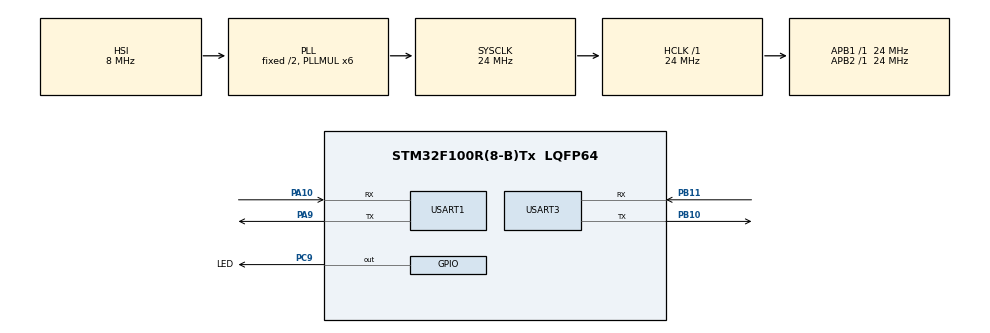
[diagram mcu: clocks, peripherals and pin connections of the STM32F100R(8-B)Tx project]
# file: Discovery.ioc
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Mcu.Family=STM32F1
PA10.Mode=Asynchronous
PB10.Mode=Asynchronous
PC9.GPIO_Label=LED
PB11.Signal=USART3_RX
RCC.SYSCLKSource=RCC_SYSCLKSOURCE_PLLCLK
ProjectManager.StackSize=0x400
PA13.Signal=SYS_JTMS-SWDIO
PA9.Mode=Asynchronous
PB11.Mode=Asynchronous
ProjectManager.TargetToolchain=STM32CubeIDE
RCC.HCLKFreq_Value=24000000
RCC.APB2TimFreq_Value=24000000
PA9.Signal=USART1_TX
RCC.AHBFreq_Value=24000000
PB10.Signal=USART3_TX
board=custom
RCC.PLLMUL=RCC_PLL_MUL6
RCC.APB2Freq_Value=24000000
VP_TIM2_VS_ClockSourceINT.Mode=Internal
PA14.Mode=Serial_Wire
NVIC.TIM2_IRQn=true\:0\:0\:false\:false\:true\:true\:true
TIM2.Period=4000
PA13.Mode=Serial_Wire
Mcu.Name=STM32F100R(8-B)Tx
RCC.SYSCLKFreq_VALUE=24000000
Mcu.Package=LQFP64
TIM2.Prescaler=35999
USART3.VirtualMode=VM_ASYNC
USART1.VirtualMode=VM_ASYNC
PA10.Signal=USART1_RX
PA14.Signal=SYS_JTCK-SWCLK
ProjectManager.HeapSize=0x200
NVIC.PriorityGroup=NVIC_PRIORITYGROUP_4
TIM2.TIM_MasterOutputTrigger=TIM_TRGO_UPDATE
RCC.APB1TimFreq_Value=24000000
PC9.Signal=GPIO_Output
NVIC.USART1_IRQn=true\:0\:0\:false\:false\:true\:true\:true
RCC.APB1Freq_Value=24000000

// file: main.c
/* USER CODE BEGIN Header */
/**
  ******************************************************************************
  * @file           : main.c
  * @brief          : Main program body
  ******************************************************************************
  * @attention
  *
  * <h2><center>&copy; Copyright (c) 2021 STMicroelectronics.
  * All rights reserved.</center></h2>
  *
  * This software component is licensed by ST under BSD 3-Clause license,
  * the "License"; You may not use this file except in compliance with the
  * License. You may obtain a copy of the License at:
  *                        opensource.org/licenses/BSD-3-Clause
  *
  ******************************************************************************
  */
/* USER CODE END Header */
#include "main.h"

/* USER CODE BEGIN Includes */
#include "string.h"
/* USER CODE END Includes */

/* USER CODE BEGIN PTD */
char str1[60]={0};
typedef struct USART_prop{
  uint8_t usart_buf[60];
  uint8_t usart_cnt;
  uint8_t is_tcp_connect;
  uint8_t is_text;
} USART_prop_ptr;
USART_prop_ptr usartprop;
/* USER CODE END PTD */

TIM_HandleTypeDef htim2;

UART_HandleTypeDef huart1;
UART_HandleTypeDef huart3;

void SystemClock_Config(void);
static void MX_GPIO_Init(void);
static void MX_USART1_UART_Init(void);
static void MX_USART3_UART_Init(void);
static void MX_TIM2_Init(void);

/* USER CODE BEGIN 0 */
void string_parse(char* buf_str)
{
  HAL_UART_Transmit(&huart1,(uint8_t*)buf_str,strlen(buf_str),0x1000);
  HAL_UART_Transmit(&huart3,(uint8_t*)buf_str,strlen(buf_str),0x1000);
}

void UART1_RxCpltCallback(void)
{
  uint8_t b;
  b = str1[0];
  if (usartprop.usart_cnt>59)
  {
    usartprop.usart_cnt=0;
    HAL_UART_Receive_IT(&huart1,(uint8_t*)str1,1);
    return;
  }
  usartprop.usart_buf[usartprop.usart_cnt] = b;
  if(b==0x0A)
  {
    usartprop.usart_buf[usartprop.usart_cnt+1]=0;
    string_parse((char*)usartprop.usart_buf);
    usartprop.usart_cnt=0;
    HAL_UART_Receive_IT(&huart1,(uint8_t*)str1,1);
    return;
  }
  usartprop.usart_cnt++;
  HAL_UART_Receive_IT(&huart1,(uint8_t*)str1,1);
}
/* USER CODE END 0 */

int main(void)
{

  /* MCU Configuration--------------------------------------------------------*/

  /* Reset of all peripherals, Initializes the Flash interface and the Systick. */
  HAL_Init();

  /* Configure the system clock */
  SystemClock_Config();

  /* Initialize all configured peripherals */
  MX_GPIO_Init();
  MX_USART1_UART_Init();
  MX_USART3_UART_Init();
  MX_TIM2_Init();
  /* USER CODE BEGIN 2 */
  HAL_UART_Receive_IT(&huart1,(uint8_t*)str1,1);
  HAL_TIM_Base_Start_IT(&htim2);
  /* USER CODE END 2 */

  /* Infinite loop */
  /* USER CODE BEGIN WHILE */
  while (1)
  {
	  HAL_GPIO_TogglePin(LED_GPIO_Port, LED_Pin);
    /* USER CODE END WHILE */

  }
}

void SystemClock_Config(void)
{
  RCC_OscInitTypeDef RCC_OscInitStruct = {0};
  RCC_ClkInitTypeDef RCC_ClkInitStruct = {0};

  /** Initializes the RCC Oscillators according to the specified parameters
  * in the RCC_OscInitTypeDef structure.
  */
  RCC_OscInitStruct.OscillatorType = RCC_OSCILLATORTYPE_HSI;
  RCC_OscInitStruct.HSIState = RCC_HSI_ON;
  RCC_OscInitStruct.HSICalibrationValue = RCC_HSICALIBRATION_DEFAULT;
  RCC_OscInitStruct.PLL.PLLState = RCC_PLL_ON;
  RCC_OscInitStruct.PLL.PLLSource = RCC_PLLSOURCE_HSI_DIV2;
  RCC_OscInitStruct.PLL.PLLMUL = RCC_PLL_MUL6;
  if (HAL_RCC_OscConfig(&RCC_OscInitStruct) != HAL_OK)
  {
    Error_Handler();
  }
  /** Initializes the CPU, AHB and APB buses clocks
  */
  RCC_ClkInitStruct.ClockType = RCC_CLOCKTYPE_HCLK|RCC_CLOCKTYPE_SYSCLK
                              |RCC_CLOCKTYPE_PCLK1|RCC_CLOCKTYPE_PCLK2;
  RCC_ClkInitStruct.SYSCLKSource = RCC_SYSCLKSOURCE_PLLCLK;
  RCC_ClkInitStruct.AHBCLKDivider = RCC_SYSCLK_DIV1;
  RCC_ClkInitStruct.APB1CLKDivider = RCC_HCLK_DIV1;
  RCC_ClkInitStruct.APB2CLKDivider = RCC_HCLK_DIV1;

  if (HAL_RCC_ClockConfig(&RCC_ClkInitStruct, FLASH_LATENCY_0) != HAL_OK)
  {
    Error_Handler();
  }
}

static void MX_TIM2_Init(void)
{

  TIM_ClockConfigTypeDef sClockSourceConfig = {0};
  TIM_MasterConfigTypeDef sMasterConfig = {0};

  htim2.Instance = TIM2;
  htim2.Init.Prescaler = 35999;
  htim2.Init.CounterMode = TIM_COUNTERMODE_UP;
  htim2.Init.Period = 4000;
  htim2.Init.ClockDivision = TIM_CLOCKDIVISION_DIV1;
  htim2.Init.AutoReloadPreload = TIM_AUTORELOAD_PRELOAD_DISABLE;
  if (HAL_TIM_Base_Init(&htim2) != HAL_OK)
  {
    Error_Handler();
  }
  sClockSourceConfig.ClockSource = TIM_CLOCKSOURCE_INTERNAL;
  if (HAL_TIM_ConfigClockSource(&htim2, &sClockSourceConfig) != HAL_OK)
  {
    Error_Handler();
  }
  sMasterConfig.MasterOutputTrigger = TIM_TRGO_UPDATE;
  sMasterConfig.MasterSlaveMode = TIM_MASTERSLAVEMODE_DISABLE;
  if (HAL_TIMEx_MasterConfigSynchronization(&htim2, &sMasterConfig) != HAL_OK)
  {
    Error_Handler();
  }

}

static void MX_USART1_UART_Init(void)
{

  huart1.Instance = USART1;
  huart1.Init.BaudRate = 115200;
  huart1.Init.WordLength = UART_WORDLENGTH_8B;
  huart1.Init.StopBits = UART_STOPBITS_1;
  huart1.Init.Parity = UART_PARITY_NONE;
  huart1.Init.Mode = UART_MODE_TX_RX;
  huart1.Init.HwFlowCtl = UART_HWCONTROL_NONE;
  huart1.Init.OverSampling = UART_OVERSAMPLING_16;
  if (HAL_UART_Init(&huart1) != HAL_OK)
  {
    Error_Handler();
  }

}

static void MX_USART3_UART_Init(void)
{

  huart3.Instance = USART3;
  huart3.Init.BaudRate = 115200;
  huart3.Init.WordLength = UART_WORDLENGTH_8B;
  huart3.Init.StopBits = UART_STOPBITS_1;
  huart3.Init.Parity = UART_PARITY_NONE;
  huart3.Init.Mode = UART_MODE_TX_RX;
  huart3.Init.HwFlowCtl = UART_HWCONTROL_NONE;
  huart3.Init.OverSampling = UART_OVERSAMPLING_16;
  if (HAL_UART_Init(&huart3) != HAL_OK)
  {
    Error_Handler();
  }

}

static void MX_GPIO_Init(void)
{
  GPIO_InitTypeDef GPIO_InitStruct = {0};

  /* GPIO Ports Clock Enable */
  __HAL_RCC_GPIOB_CLK_ENABLE();
  __HAL_RCC_GPIOC_CLK_ENABLE();
  __HAL_RCC_GPIOA_CLK_ENABLE();

  /*Configure GPIO pin Output Level */
  HAL_GPIO_WritePin(LED_GPIO_Port, LED_Pin, GPIO_PIN_RESET);

  /*Configure GPIO pin : LED_Pin */
  GPIO_InitStruct.Pin = LED_Pin;
  GPIO_InitStruct.Mode = GPIO_MODE_OUTPUT_PP;
  GPIO_InitStruct.Pull = GPIO_NOPULL;
  GPIO_InitStruct.Speed = GPIO_SPEED_FREQ_LOW;
  HAL_GPIO_Init(LED_GPIO_Port, &GPIO_InitStruct);

}

/* USER CODE BEGIN 4 */
void HAL_UART_RxCpltCallback(UART_HandleTypeDef *huart)
{
  if(huart==&huart1)
  {
    UART1_RxCpltCallback();
  }
}
/* USER CODE END 4 */

void Error_Handler(void)
{
  __disable_irq();
  while (1)
  {
  }
}

/************************ (C) COPYRIGHT STMicroelectronics *****END OF FILE****/
